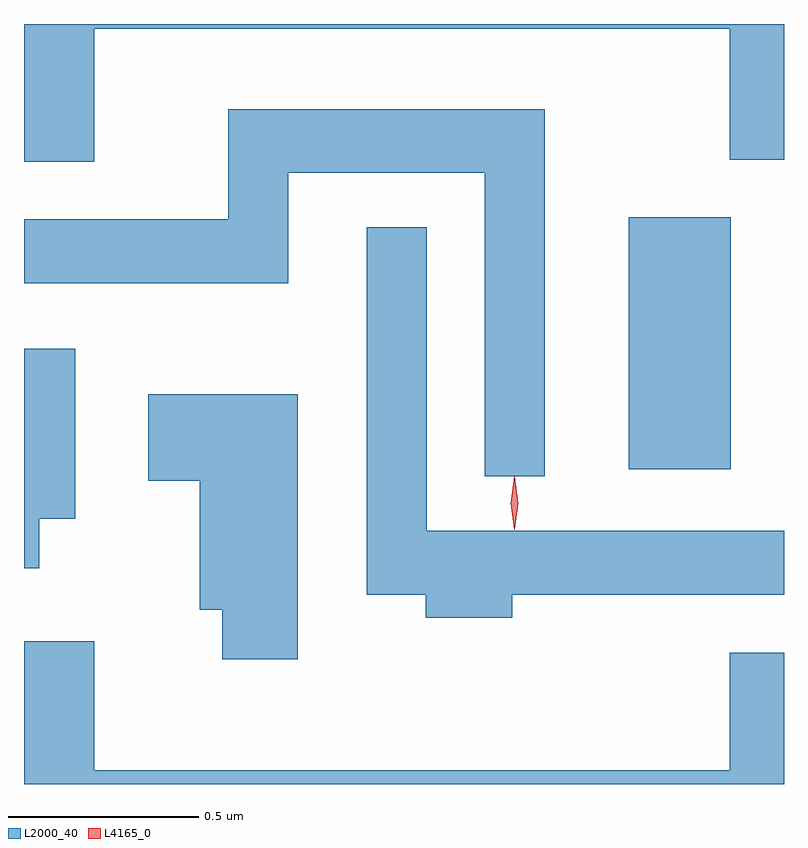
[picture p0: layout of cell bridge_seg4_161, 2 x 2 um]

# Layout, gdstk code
import gdstk
lib = gdstk.Library(unit=1e-6, precision=1e-09)
def R(c, l, rs):  # rectangles x0, y0, x1, y1
    for r in rs: c.add(gdstk.rectangle(r[:2], r[2:], *l))
def P(c, l, *ps):  # polygons
    for p in ps: c.add(gdstk.Polygon(p, *l))
L2000_40 = (2000, 40)
L4165_0 = (4165, 0)

bridge_seg4_161 = lib.new_cell('bridge_seg4_161')
R(bridge_seg4_161, L2000_40, [(870.526,1264.716,870.794,1265.379)])
P(bridge_seg4_161, L2000_40, [(869.119,1265.876),(870.791,1265.876),(870.791,1265.531),(870.934,1265.531),(870.934,1265.888),(868.934,1265.888),(868.934,1265.526),(869.119,1265.526)],
  [(870.304,1265.664),(869.471,1265.664),(869.471,1265.374),(868.934,1265.374),(868.934,1265.206),(869.629,1265.206),(869.629,1265.496),(870.146,1265.496),(870.146,1264.698),(870.304,1264.698)],
  [(870.219,1264.386),(870.934,1264.386),(870.934,1264.554),(869.994,1264.554),(869.994,1265.353),(869.836,1265.353),(869.836,1264.386),(869.991,1264.386),(869.991,1264.326),(870.219,1264.326)],
  [(868.974,1264.586),(869.069,1264.586),(869.069,1265.034),(868.934,1265.034),(868.934,1264.456),(868.974,1264.456)],
  [(869.654,1264.914),(869.261,1264.914),(869.261,1264.686),(869.396,1264.686),(869.396,1264.346),(869.456,1264.346),(869.456,1264.216),(869.654,1264.216)],
  [(870.934,1264.234),(870.791,1264.234),(870.791,1263.924),(869.119,1263.924),(869.119,1264.264),(868.934,1264.264),(868.934,1263.888),(870.934,1263.888)])
P(bridge_seg4_161, L4165_0, [(870.225,1264.557),(870.224,1264.558),(870.215,1264.627),(870.224,1264.696),(870.225,1264.696),(870.225,1264.696),(870.235,1264.627),(870.225,1264.558)])

lib.write_gds('bridge_seg4_161.gds')
